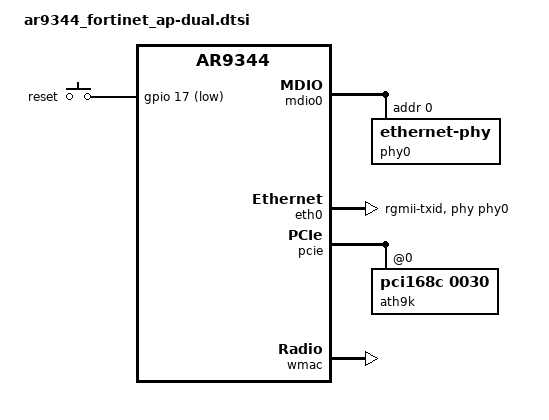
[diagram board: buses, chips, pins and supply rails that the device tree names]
// SPDX-License-Identifier: GPL-2.0-or-later OR MIT

#include "ar9344.dtsi"
#include "arxxxx_fortinet_loader.dtsi"

#include <dt-bindings/gpio/gpio.h>
#include <dt-bindings/input/input.h>

/ {
	aliases {
		led-boot = &led_power;
		led-failsafe = &led_power;
		led-running = &led_power;
		led-upgrade = &led_power;
	};

	chosen {
		bootargs = "console=ttyS0,9600";
	};

	keys {
		compatible = "gpio-keys";

		reset {
			label = "reset";
			gpios = <&gpio 17 GPIO_ACTIVE_LOW>;
			debounce-interval = <60>;
			linux,code = <KEY_RESTART>;
		};
	};
};

&ref {
	clock-frequency = <25000000>;
};

&mdio0 {
	status = "okay";

	phy0: ethernet-phy@0 {
		reg = <0>;
		eee-broken-100tx;
		eee-broken-1000t;
	};
};

&eth0 {
	status = "okay";

	phy-handle = <&phy0>;
	phy-mode = "rgmii-txid";

	pll-data = <0x02000000 0x00000101 0x00001313>;
};

&pcie {
	status = "okay";

	ath9k: wifi@0,0 {
		compatible = "pci168c,0030";
		reg = <0x0 0 0 0 0>;
	};
};

&wmac {
	status = "okay";
};
